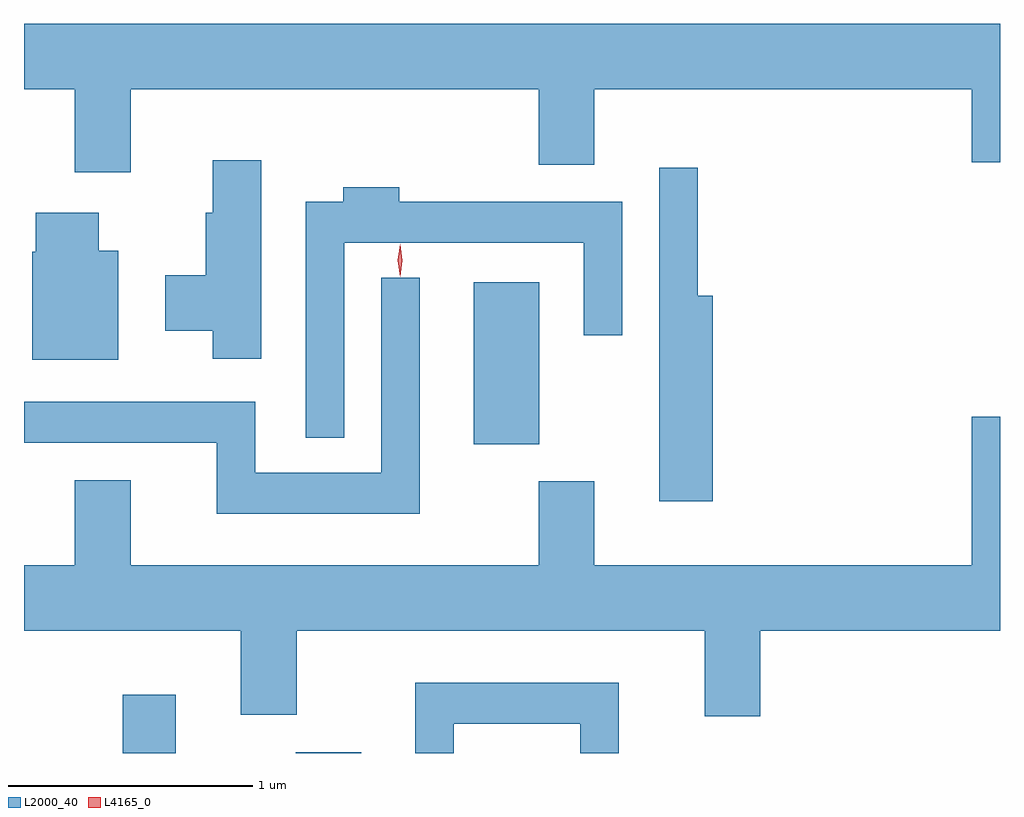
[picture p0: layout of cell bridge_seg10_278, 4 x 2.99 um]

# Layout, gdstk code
import gdstk
lib = gdstk.Library(unit=1e-6, precision=1e-09)
def R(c, l, rs):  # rectangles x0, y0, x1, y1
    for r in rs: c.add(gdstk.rectangle(r[:2], r[2:], *l))
def P(c, l, *ps):  # polygons
    for p in ps: c.add(gdstk.Polygon(p, *l))
L2000_40 = (2000, 40)
L4165_0 = (4165, 0)

bridge_seg10_278 = lib.new_cell('bridge_seg10_278')
R(bridge_seg10_278, L2000_40, [(1430.376,2193.334,1430.594,2193.574), (1431.086,2193.334,1431.354,2193.339), (1431.816,2194.601,1432.084,2195.264)])
P(bridge_seg10_278, L2000_40, [(1430.409,2196.056),(1432.081,2196.056),(1432.081,2195.746),(1432.309,2195.746),(1432.309,2196.056),(1433.856,2196.056),(1433.856,2195.756),(1433.972,2195.756),(1433.972,2196.324),(1429.972,2196.324),(1429.972,2196.056),(1430.181,2196.056),(1430.181,2195.716),(1430.409,2195.716)],
  [(1430.944,2195.764),(1430.746,2195.764),(1430.746,2195.549),(1430.716,2195.549),(1430.716,2195.294),(1430.551,2195.294),(1430.551,2195.066),(1430.746,2195.066),(1430.746,2194.951),(1430.944,2194.951)],
  [(1432.794,2195.209),(1432.734,2195.209),(1432.734,2195.733),(1432.576,2195.733),(1432.576,2194.366),(1432.794,2194.366)],
  [(1431.284,2195.426),(1432.266,2195.426),(1432.266,2195.048),(1432.424,2195.048),(1432.424,2195.594),(1431.509,2195.594),(1431.509,2195.654),(1431.281,2195.654),(1431.281,2195.594),(1431.126,2195.594),(1431.126,2194.628),(1431.284,2194.628)],
  [(1430.359,2195.394),(1430.279,2195.394),(1430.279,2195.549),(1430.021,2195.549),(1430.021,2195.39),(1430.006,2195.39),(1430.006,2194.946),(1430.359,2194.946)],
  [(1431.594,2195.283),(1431.436,2195.283),(1431.436,2194.484),(1430.919,2194.484),(1430.919,2194.774),(1429.972,2194.774),(1429.972,2194.606),(1430.761,2194.606),(1430.761,2194.316),(1431.594,2194.316)],
  [(1432.989,2193.836),(1433.972,2193.836),(1433.972,2194.714),(1433.856,2194.714),(1433.856,2194.104),(1432.309,2194.104),(1432.309,2194.449),(1432.081,2194.449),(1432.081,2194.104),(1430.409,2194.104),(1430.409,2194.454),(1430.181,2194.454),(1430.181,2194.104),(1429.972,2194.104),(1429.972,2193.836),(1430.861,2193.836),(1430.861,2193.491),(1431.089,2193.491),(1431.089,2193.836),(1432.761,2193.836),(1432.761,2193.486),(1432.989,2193.486)],
  [(1431.734,2193.456),(1432.251,2193.456),(1432.251,2193.334),(1432.409,2193.334),(1432.409,2193.624),(1431.576,2193.624),(1431.576,2193.334),(1431.734,2193.334)])
P(bridge_seg10_278, L4165_0, [(1431.513,2195.287),(1431.503,2195.354),(1431.513,2195.42),(1431.513,2195.42),(1431.514,2195.42),(1431.523,2195.354),(1431.514,2195.287),(1431.514,2195.287)])

lib.write_gds('bridge_seg10_278.gds')
